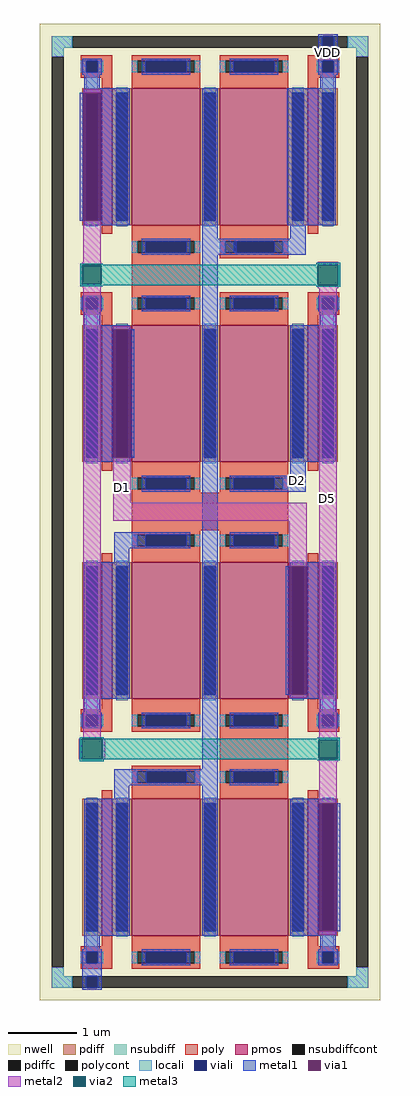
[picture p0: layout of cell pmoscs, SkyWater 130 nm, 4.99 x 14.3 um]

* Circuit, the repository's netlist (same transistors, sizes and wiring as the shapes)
** sch_path: /home/nsptrq/opamp/mag/pmoscs.sch
.subckt pmoscs vdd D5 D1 D2
*.PININFO vdd:B D5:B D2:B D1:B
XM1 D1 D2 vdd vdd sky130_fd_pr__pfet_01v8 L=1 W=2 nf=1 m=2
XM2 D2 D2 vdd vdd sky130_fd_pr__pfet_01v8 L=1 W=2 nf=1 m=2
XM5 D5 D2 vdd vdd sky130_fd_pr__pfet_01v8 L=1 W=2 nf=1 m=2
XM3 vdd vdd vdd vdd sky130_fd_pr__pfet_01v8 L=0.15 W=2 nf=1 m=2
XM4 D1 D1 D1 vdd sky130_fd_pr__pfet_01v8 L=0.15 W=2 nf=1 m=2
XM6 D2 D2 D2 vdd sky130_fd_pr__pfet_01v8 L=0.15 W=2 nf=1 m=2
XM7 D5 D5 D5 vdd sky130_fd_pr__pfet_01v8 L=0.15 W=2 nf=1 m=2
XM8 vdd vdd vdd vdd sky130_fd_pr__pfet_01v8 L=1 W=2 nf=1 m=2
.ends
.end

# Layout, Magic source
magic
tech sky130A
magscale 1 2
<< nwell >>
rect -166 -107 832 2753
<< nsubdiff >>
rect -130 2683 -70 2717
rect 736 2683 796 2717
rect -130 2657 -96 2683
rect 762 2657 796 2683
rect -130 -37 -96 -11
rect 762 -37 796 -11
rect -130 -71 -70 -37
rect 736 -71 796 -37
<< nsubdiffcont >>
rect -70 2683 736 2717
rect -130 -11 -96 2657
rect 762 -11 796 2657
rect -70 -71 736 -37
<< poly >>
rect -46 2645 46 2661
rect -46 2611 -30 2645
rect 4 2611 46 2645
rect -46 2595 46 2611
rect 16 2564 46 2595
rect 620 2645 712 2661
rect 620 2611 662 2645
rect 696 2611 712 2645
rect 620 2595 712 2611
rect 620 2588 650 2595
rect -46 1951 46 1967
rect 104 1965 304 2069
rect -46 1917 -30 1951
rect 4 1917 46 1951
rect -46 1901 46 1917
rect 16 1870 46 1901
rect 620 1951 712 1967
rect 620 1917 662 1951
rect 696 1917 712 1951
rect 620 1901 712 1917
rect 620 1870 650 1901
rect 104 1270 562 1379
rect 16 745 46 776
rect -46 729 46 745
rect -46 695 -30 729
rect 4 695 46 729
rect -46 679 46 695
rect 620 745 650 776
rect 620 729 712 745
rect 620 695 662 729
rect 696 695 712 729
rect 362 574 562 684
rect 620 679 712 695
rect 16 51 46 82
rect -46 35 46 51
rect -46 1 -30 35
rect 4 1 46 35
rect -46 -15 46 1
rect 620 51 650 82
rect 620 35 712 51
rect 620 1 662 35
rect 696 1 712 35
rect 620 -15 712 1
<< polycont >>
rect -30 2611 4 2645
rect 662 2611 696 2645
rect -30 1917 4 1951
rect 662 1917 696 1951
rect -30 695 4 729
rect 662 695 696 729
rect -30 1 4 35
rect 662 1 696 35
<< locali >>
rect -130 2683 -70 2717
rect 736 2683 796 2717
rect -130 2657 -96 2683
rect 762 2657 796 2683
rect -46 2611 -30 2645
rect 4 2611 20 2645
rect 646 2611 662 2645
rect 696 2611 712 2645
rect -30 2564 4 2611
rect 662 2566 696 2611
rect -46 1917 -30 1951
rect 4 1917 20 1951
rect 646 1917 662 1951
rect 696 1917 712 1951
rect -30 1870 4 1917
rect 662 1870 696 1917
rect -30 729 4 776
rect 662 729 696 776
rect -46 695 -30 729
rect 4 695 20 729
rect 646 695 662 729
rect 696 695 712 729
rect -30 35 4 82
rect 662 35 696 82
rect -46 1 -30 35
rect 4 1 20 35
rect 646 1 662 35
rect 696 1 712 35
rect -130 -37 -96 -11
rect 762 -37 796 -11
rect -130 -71 -70 -37
rect 736 -71 796 -37
<< viali >>
rect 662 2683 696 2717
rect -30 2611 4 2645
rect 662 2611 696 2645
rect -30 1917 4 1951
rect 662 1917 696 1951
rect -30 695 4 729
rect 662 695 696 729
rect -30 1 4 35
rect 662 1 696 35
rect -30 -71 4 -37
<< metal1 >>
rect 650 2717 708 2723
rect 650 2683 662 2717
rect 696 2683 708 2717
rect -42 2645 16 2651
rect -42 2611 -30 2645
rect 4 2611 16 2645
rect -42 2605 16 2611
rect 650 2645 708 2683
rect 650 2611 662 2645
rect 696 2611 708 2645
rect 650 2605 708 2611
rect -36 2564 10 2605
rect 656 2564 702 2605
rect -36 2552 97 2564
rect -49 2176 -39 2552
rect 13 2176 97 2552
rect -36 2164 97 2176
rect 310 2123 356 2564
rect 560 2557 702 2564
rect 560 2164 693 2557
rect 568 2123 614 2164
rect 310 2077 411 2123
rect 522 2077 614 2123
rect -42 1951 16 1957
rect -42 1917 -30 1951
rect 4 1917 16 1951
rect -42 1911 16 1917
rect -36 1870 10 1911
rect -36 1858 97 1870
rect -36 1482 49 1858
rect 101 1482 111 1858
rect -36 1470 97 1482
rect 52 1217 145 1263
rect 52 1176 97 1217
rect -36 776 97 1176
rect -36 735 10 776
rect -42 729 16 735
rect -42 695 -30 729
rect 4 695 16 729
rect -42 689 16 695
rect 310 569 356 2077
rect 650 1951 708 1957
rect 650 1917 662 1951
rect 696 1917 708 1951
rect 650 1911 708 1917
rect 656 1870 702 1911
rect 568 1470 701 1870
rect 568 1429 614 1470
rect 526 1383 614 1429
rect 568 1164 701 1176
rect 555 788 565 1164
rect 617 788 701 1164
rect 568 776 701 788
rect 656 735 702 776
rect 650 729 708 735
rect 650 695 662 729
rect 696 695 708 729
rect 650 689 708 695
rect 52 523 147 569
rect 264 523 356 569
rect 52 482 97 523
rect -36 82 97 482
rect 310 82 356 523
rect 568 470 701 482
rect 568 94 653 470
rect 705 94 715 470
rect 568 82 701 94
rect -36 41 10 82
rect 656 41 702 82
rect -42 35 16 41
rect -42 1 -30 35
rect 4 1 16 35
rect -42 -37 16 1
rect 650 35 708 41
rect 650 1 662 35
rect 696 1 708 35
rect 650 -5 708 1
rect -42 -71 -30 -37
rect 4 -71 16 -37
rect -42 -77 16 -71
<< via1 >>
rect -39 2176 13 2552
rect 49 1482 101 1858
rect 565 788 617 1164
rect 653 94 705 470
<< metal2 >>
rect -39 2552 13 2562
rect -39 2055 13 2176
rect -42 2046 14 2055
rect -42 1981 14 1990
rect 649 2048 709 2057
rect -39 658 13 1981
rect 649 1979 709 1988
rect 49 1858 101 1868
rect 49 1350 101 1482
rect 49 1298 617 1350
rect 565 1164 617 1298
rect 565 778 617 788
rect 653 665 705 1979
rect -52 598 -43 658
rect 17 598 26 658
rect 652 656 708 665
rect 652 591 708 600
rect 653 470 705 591
rect 653 84 705 94
<< via2 >>
rect -42 1990 14 2046
rect 649 1988 709 2048
rect -43 598 17 658
rect 652 600 708 656
<< metal3 >>
rect -47 2048 19 2051
rect 644 2048 714 2053
rect -47 2046 649 2048
rect -47 1990 -42 2046
rect 14 1990 649 2046
rect -47 1988 649 1990
rect 709 1988 714 2048
rect -47 1985 19 1988
rect 644 1983 714 1988
rect -48 658 22 663
rect 647 658 713 661
rect -48 598 -43 658
rect 17 656 713 658
rect 17 600 652 656
rect 708 600 713 656
rect 17 598 713 600
rect -48 593 22 598
rect 647 595 713 598
use sky130_fd_pr__pfet_01v8_2ZH9AN  sky130_fd_pr__pfet_01v8_2ZH9AN_0
transform 1 0 31 0 1 1670
box -109 -262 109 262
use sky130_fd_pr__pfet_01v8_2ZH9AN  sky130_fd_pr__pfet_01v8_2ZH9AN_1
transform 1 0 31 0 1 282
box -109 -262 109 262
use sky130_fd_pr__pfet_01v8_2ZH9AN  sky130_fd_pr__pfet_01v8_2ZH9AN_2
transform 1 0 635 0 1 282
box -109 -262 109 262
use sky130_fd_pr__pfet_01v8_2ZH9AN  sky130_fd_pr__pfet_01v8_2ZH9AN_3
transform 1 0 635 0 1 976
box -109 -262 109 262
use sky130_fd_pr__pfet_01v8_2ZH9AN  sky130_fd_pr__pfet_01v8_2ZH9AN_4
transform 1 0 31 0 1 976
box -109 -262 109 262
use sky130_fd_pr__pfet_01v8_2ZH9AN  sky130_fd_pr__pfet_01v8_2ZH9AN_5
transform 1 0 635 0 1 1670
box -109 -262 109 262
use sky130_fd_pr__pfet_01v8_2ZH9AN  sky130_fd_pr__pfet_01v8_2ZH9AN_6
transform 1 0 635 0 1 2364
box -109 -262 109 262
use sky130_fd_pr__pfet_01v8_2ZH9AN  sky130_fd_pr__pfet_01v8_2ZH9AN_7
transform 1 0 31 0 1 2364
box -109 -262 109 262
use sky130_fd_pr__pfet_01v8_SDE6B7  sky130_fd_pr__pfet_01v8_SDE6B7_0
transform 1 0 333 0 1 2364
box -323 -300 323 300
use sky130_fd_pr__pfet_01v8_SDE6B7  sky130_fd_pr__pfet_01v8_SDE6B7_1
transform 1 0 333 0 1 1670
box -323 -300 323 300
use sky130_fd_pr__pfet_01v8_SDE6B7  sky130_fd_pr__pfet_01v8_SDE6B7_2
transform 1 0 333 0 1 976
box -323 -300 323 300
use sky130_fd_pr__pfet_01v8_SDE6B7  sky130_fd_pr__pfet_01v8_SDE6B7_3
transform 1 0 333 0 1 282
box -323 -300 323 300
<< labels >>
flabel metal2 76 1394 76 1394 0 FreeSans 320 0 0 0 D1
port 0 nsew
flabel metal1 590 1416 590 1416 0 FreeSans 320 0 0 0 D2
port 1 nsew
flabel metal2 676 1364 676 1364 0 FreeSans 320 0 0 0 D5
port 2 nsew
flabel metal1 678 2670 678 2670 0 FreeSans 320 0 0 0 VDD
port 3 nsew
<< end >>

# cell sky130_fd_pr__pfet_01v8_2ZH9AN: kit device sky130_fd_pr__pfet_01v8, w 2 l 0.15 m 1 nf 1 diffcov 100 polycov 100 guard 0 glc 1 grc 1 gtc 1 gbc 1 tbcov 100 rlcov 100 topc 0 botc 0 poverlap 0 doverlap 1 lmin 0.15 wmin 0.42 compatible {sky130_fd_pr__pfet_01v8 sky130_fd_pr__pfet_01v8_lvt sky130_fd_pr__pfet_01v8_hvt sky130_fd_pr__pfet_g5v0d10v5} full_metal 1 viasrc 100 viadrn 100 viagate 100 viagb 0 viagr 0 viagl 0 viagt 0

# cell sky130_fd_pr__pfet_01v8_SDE6B7: kit device sky130_fd_pr__pfet_01v8, w 2 l 1 m 1 nf 2 diffcov 100 polycov 100 guard 0 glc 1 grc 1 gtc 1 gbc 1 tbcov 100 rlcov 100 topc 1 botc 1 poverlap 0 doverlap 1 lmin 0.15 wmin 0.42 compatible {sky130_fd_pr__pfet_01v8 sky130_fd_pr__pfet_01v8_lvt sky130_fd_pr__pfet_01v8_hvt sky130_fd_pr__pfet_g5v0d10v5} full_metal 1 viasrc 100 viadrn 100 viagate 70 viagb 0 viagr 0 viagl 0 viagt 0
